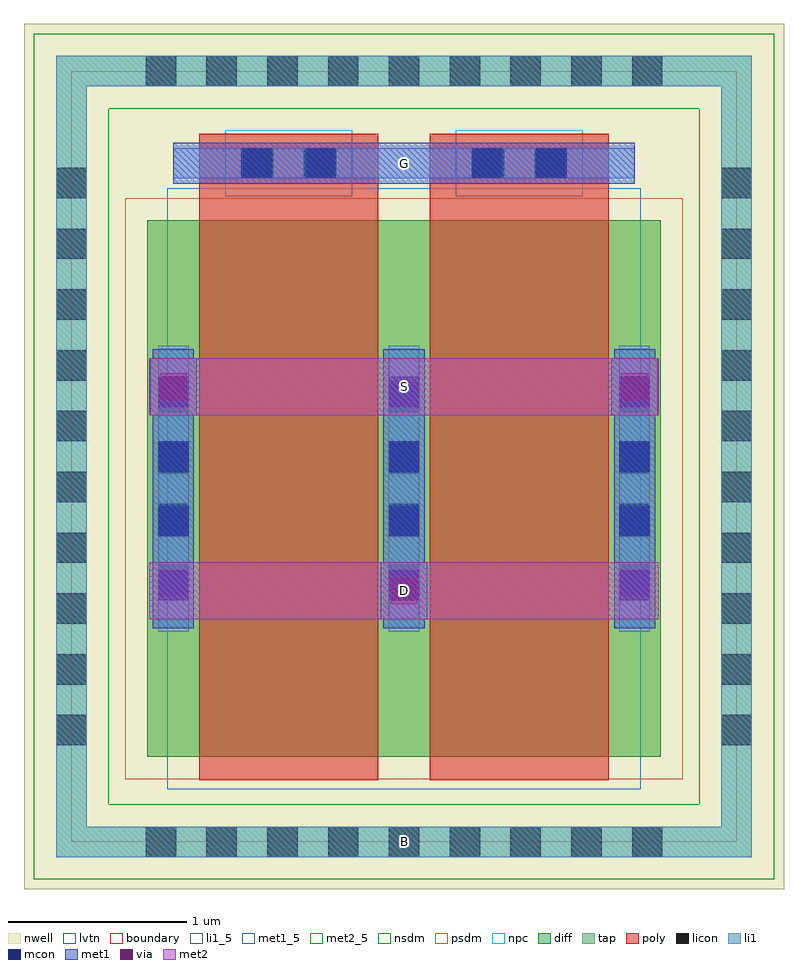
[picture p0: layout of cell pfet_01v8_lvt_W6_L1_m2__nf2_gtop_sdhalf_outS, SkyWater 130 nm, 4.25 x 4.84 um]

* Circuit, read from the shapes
.subckt pfet_01v8_lvt_W6_L1_m2__nf2_gtop_sdhalf_outS B D G S
XM1 D G S B sky130_fd_pr__pfet_01v8_lvt w=3 l=1 m=2
.ends

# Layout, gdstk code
import gdstk
lib = gdstk.Library(unit=1e-6, precision=1e-09)
def R(c, l, rs):  # rectangles x0, y0, x1, y1
    for r in rs: c.add(gdstk.rectangle(r[:2], r[2:], *l))
def A(c, l, x, y, w, h, nx, ny, dx, dy):  # array of equal rectangles
    R(c, l, [(x+i*dx, y+j*dy, x+i*dx+w, y+j*dy+h) for i in range(nx) for j in range(ny)])
nwell = (64, 20)
diff = (65, 20)
tap = (65, 44)
poly = (66, 20)
licon = (66, 44)
li1_5 = (67, 5)
li1 = (67, 20)
mcon = (67, 44)
met1_5 = (68, 5)
met1 = (68, 20)
via = (68, 44)
met2_5 = (69, 5)
met2 = (69, 20)
nsdm = (93, 44)
psdm = (94, 20)
npc = (95, 20)
lvtn = (125, 44)
boundary = (235, 4)

sky130_fd_pr__pfet_01v8_ = lib.new_cell('sky130_fd_pr__pfet_01v8_lvt_4FD2T9')
R(sky130_fd_pr__pfet_01v8_, nwell, [(-2.125,-2.42,2.125,2.42)])
R(sky130_fd_pr__pfet_01v8_, diff, [(-1.435,-1.68,1.435,1.32)])
R(sky130_fd_pr__pfet_01v8_, tap, [(-1.945,-2.24,1.945,-2.07), (-1.945,-2.07,-1.775,2.07), (1.775,-2.07,1.945,2.07), (-1.945,2.07,1.945,2.24)])
R(sky130_fd_pr__pfet_01v8_, poly, [(-1.145,-1.81,-0.145,1.805), (0.145,-1.81,1.145,1.805)])
A(sky130_fd_pr__pfet_01v8_, licon, -1.445, -2.24, 0.17, 0.17, 9, 2, 0.34, 4.31)
A(sky130_fd_pr__pfet_01v8_, licon, -1.945, -1.615, 0.17, 0.17, 1, 10, 0, 0.34)
A(sky130_fd_pr__pfet_01v8_, licon, 1.775, -1.615, 0.17, 0.17, 1, 10, 0, 0.34)
A(sky130_fd_pr__pfet_01v8_, licon, -1.375, -0.775, 0.17, 0.17, 3, 4, 1.29, 0.34)
R(sky130_fd_pr__pfet_01v8_, licon, [(-0.9,1.555,-0.73,1.725), (-0.56,1.555,-0.39,1.725), (0.39,1.555,0.56,1.725), (0.73,1.555,0.9,1.725)])
A(sky130_fd_pr__pfet_01v8_, li1, -1.375, -0.98, 0.17, 1.6, 3, 1, 1.29, 0)
R(sky130_fd_pr__pfet_01v8_, li1, [(-1.945,-2.24,1.945,-2.07), (-1.945,-2.07,-1.775,2.07), (1.775,-2.07,1.945,2.07), (-1.29,1.555,1.29,1.725), (-1.945,2.07,1.945,2.24)])
A(sky130_fd_pr__pfet_01v8_, mcon, -1.375, -0.805, 0.17, 0.17, 3, 4, 1.29, 0.36)
R(sky130_fd_pr__pfet_01v8_, mcon, [(-0.91,1.555,-0.74,1.725), (-0.55,1.555,-0.38,1.725), (0.38,1.555,0.55,1.725), (0.74,1.555,0.91,1.725)])
A(sky130_fd_pr__pfet_01v8_, met1, -1.405, -0.96, 0.23, 1.56, 3, 1, 1.29, 0)
R(sky130_fd_pr__pfet_01v8_, met1, [(-1.125,1.525,-0.165,1.555), (0.165,1.525,1.125,1.555), (-1.29,1.555,1.29,1.725), (-1.125,1.725,-0.165,1.755), (0.165,1.725,1.125,1.755)])
R(sky130_fd_pr__pfet_01v8_, nsdm, [(-2.07,-2.365,2.07,-1.945), (-2.07,-1.945,-1.65,1.945), (1.65,-1.945,2.07,1.945), (-2.07,1.945,2.07,2.365)])
R(sky130_fd_pr__pfet_01v8_, psdm, [(-1.56,-1.805,1.56,1.445)])
R(sky130_fd_pr__pfet_01v8_, npc, [(-1,1.455,-0.29,1.825), (0.29,1.455,1,1.825)])
R(sky130_fd_pr__pfet_01v8_, lvtn, [(-1.325,-1.86,1.325,1.5)])
R(sky130_fd_pr__pfet_01v8_, boundary, [(-1.86,-2.155,1.86,2.155)])
sky130_fd_pr__pfet_01v8_.add(gdstk.Label('B', (0,-2.155), layer=67, texttype=5))
sky130_fd_pr__pfet_01v8_.add(gdstk.Label('D0', (-1.29,-0.18), layer=67, texttype=5))
sky130_fd_pr__pfet_01v8_.add(gdstk.Label('G', (0.645,1.64), layer=67, texttype=5))
sky130_fd_pr__pfet_01v8_.add(gdstk.Label('G', (-0.645,1.64), layer=67, texttype=5))
sky130_fd_pr__pfet_01v8_.add(gdstk.Label('S1', (0,-0.18), layer=67, texttype=5))

pfet_01v8_lvt_w6_l1_m2__ = lib.new_cell('pfet_01v8_lvt_W6_L1_m2__nf2_gtop_sdhalf_outS')
R(pfet_01v8_lvt_w6_l1_m2__, li1_5, [(1.775,-0.085,1.945,0.085)])
R(pfet_01v8_lvt_w6_l1_m2__, li1, [(1.775,-0.085,1.945,0.085)])
R(pfet_01v8_lvt_w6_l1_m2__, met1_5, [(0.57,3.68,3.15,3.91)])
R(pfet_01v8_lvt_w6_l1_m2__, met1, [(1.73,1.245,1.99,1.565), (0.44,2.385,0.7,2.705), (3.02,2.385,3.28,2.705), (0.57,3.68,3.15,3.91)])
R(pfet_01v8_lvt_w6_l1_m2__, via, [(1.785,1.33,1.935,1.48), (0.495,2.47,0.645,2.62), (3.075,2.47,3.225,2.62)])
R(pfet_01v8_lvt_w6_l1_m2__, met2_5, [(0.435,1.245,3.285,1.565), (0.435,2.385,3.285,2.705)])
R(pfet_01v8_lvt_w6_l1_m2__, met2, [(0.435,1.245,3.285,1.565), (0.435,2.385,3.285,2.705)])
pfet_01v8_lvt_w6_l1_m2__.add(gdstk.Reference(sky130_fd_pr__pfet_01v8_, (1.86,2.155)))
pfet_01v8_lvt_w6_l1_m2__.add(gdstk.Label('S', (1.86,2.545), layer=69, texttype=5))
pfet_01v8_lvt_w6_l1_m2__.add(gdstk.Label('D', (1.86,1.405), layer=69, texttype=5))
pfet_01v8_lvt_w6_l1_m2__.add(gdstk.Label('G', (1.86,3.795), layer=68, texttype=5))
pfet_01v8_lvt_w6_l1_m2__.add(gdstk.Label('B', (1.86,0), layer=67, texttype=5))

lib.write_gds('pfet_01v8_lvt_W6_L1_m2__nf2_gtop_sdhalf_outS.gds')
